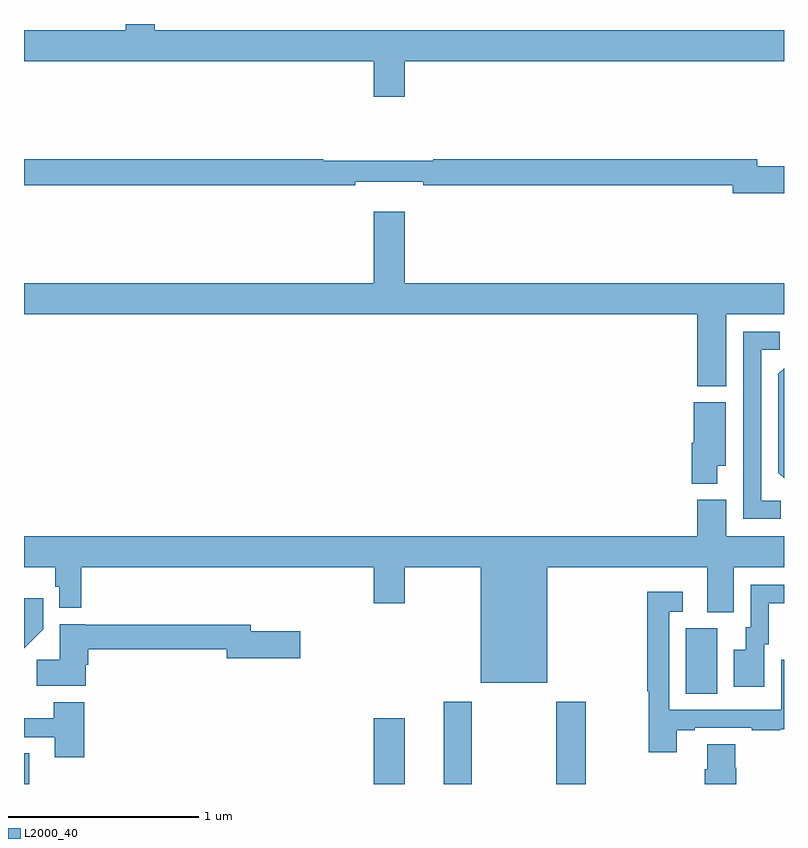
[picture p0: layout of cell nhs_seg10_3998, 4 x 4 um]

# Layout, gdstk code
import gdstk
lib = gdstk.Library(unit=1e-6, precision=1e-09)
def R(c, l, rs):  # rectangles x0, y0, x1, y1
    for r in rs: c.add(gdstk.rectangle(r[:2], r[2:], *l))
def P(c, l, *ps):  # polygons
    for p in ps: c.add(gdstk.Polygon(p, *l))
L2000_40 = (2000, 40)

nhs_seg10_3998 = lib.new_cell('nhs_seg10_3998')
R(nhs_seg10_3998, L2000_40, [(331,1308.5,331.027,1308.662), (332.84,1308.5,333.004,1308.847), (333.209,1308.5,333.357,1308.934), (333.802,1308.5,333.957,1308.934), (334.484,1308.976,334.648,1309.32)])
P(nhs_seg10_3998, L2000_40, [(333.004,1312.304),(335,1312.304),(335,1312.468),(331.688,1312.468),(331.688,1312.5),(331.536,1312.5),(331.536,1312.468),(331,1312.468),(331,1312.304),(332.84,1312.304),(332.84,1312.116),(333.004,1312.116)],
  [(335,1311.752),(334.858,1311.752),(334.858,1311.788),(333.154,1311.788),(333.154,1311.781),(332.576,1311.781),(332.576,1311.788),(331,1311.788),(331,1311.652),(332.744,1311.652),(332.744,1311.671),(333.1,1311.671),(333.1,1311.652),(334.73,1311.652),(334.73,1311.61),(335,1311.61)],
  [(334.696,1310.972),(335,1310.972),(335,1311.136),(333.004,1311.136),(333.004,1311.511),(332.84,1311.511),(332.84,1311.136),(331,1311.136),(331,1310.972),(334.544,1310.972),(334.544,1310.594),(334.696,1310.594)],
  [(334.984,1309.992),(334.881,1309.992),(334.881,1310.785),(334.977,1310.785),(334.977,1310.88),(334.785,1310.88),(334.785,1309.896),(334.984,1309.896)],
  [(335,1310.689),(334.971,1310.66),(334.971,1310.138),(335,1310.109)],
  [(334.648,1310.174),(334.693,1310.174),(334.693,1310.509),(334.526,1310.509),(334.526,1310.295),(334.514,1310.295),(334.514,1310.081),(334.648,1310.081)],
  [(333.754,1309.64),(334.595,1309.64),(334.595,1309.405),(334.735,1309.405),(334.735,1309.64),(335,1309.64),(335,1309.804),(334.696,1309.804),(334.696,1309.996),(334.544,1309.996),(334.544,1309.804),(331,1309.804),(331,1309.64),(331.165,1309.64),(331.165,1309.539),(331.185,1309.539),(331.185,1309.427),(331.301,1309.427),(331.301,1309.64),(332.84,1309.64),(332.84,1309.452),(333.004,1309.452),(333.004,1309.64),(333.404,1309.64),(333.404,1309.034),(333.754,1309.034)],
  [(334.897,1309.236),(334.921,1309.236),(334.921,1309.452),(335,1309.452),(335,1309.548),(334.824,1309.548),(334.824,1309.326),(334.799,1309.326),(334.799,1309.207),(334.736,1309.207),(334.736,1309.011),(334.897,1309.011)],
  [(334.435,1308.783),(334.531,1308.783),(334.531,1308.795),(334.831,1308.795),(334.831,1308.783),(334.979,1308.783),(334.979,1308.789),(335,1308.789),(335,1309.153),(334.986,1309.153),(334.986,1308.891),(334.395,1308.891),(334.395,1309.407),(334.468,1309.407),(334.468,1309.513),(334.279,1309.513),(334.279,1308.988),(334.287,1308.988),(334.287,1308.666),(334.435,1308.666)],
  [(331.1,1309.314),(331.1,1309.477),(331,1309.477),(331,1309.214)],
  [(331.324,1309.127),(331.337,1309.127),(331.337,1309.21),(332.066,1309.21),(332.066,1309.163),(332.455,1309.163),(332.455,1309.305),(332.194,1309.305),(332.194,1309.339),(331.32,1309.339),(331.32,1309.342),(331.187,1309.342),(331.187,1309.154),(331.066,1309.154),(331.066,1309.016),(331.324,1309.016)],
  [(331.316,1308.931),(331.156,1308.931),(331.156,1308.847),(331,1308.847),(331,1308.747),(331.163,1308.747),(331.163,1308.642),(331.316,1308.642)],
  [(334.748,1308.585),(334.743,1308.585),(334.743,1308.71),(334.595,1308.71),(334.595,1308.578),(334.583,1308.578),(334.583,1308.5),(334.748,1308.5)])

lib.write_gds('nhs_seg10_3998.gds')
